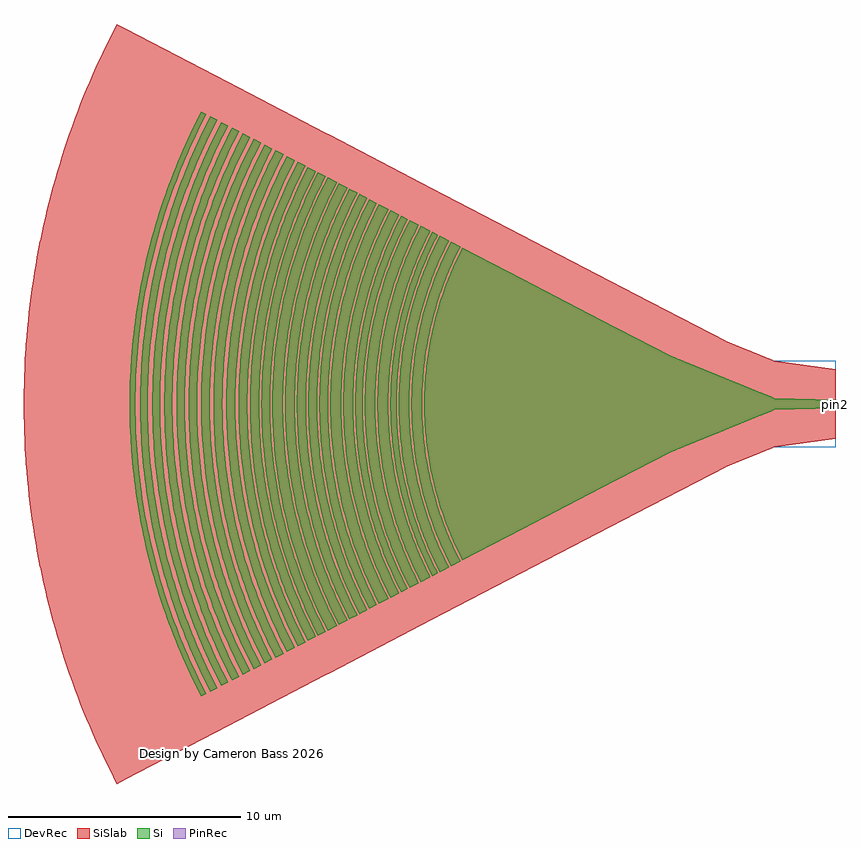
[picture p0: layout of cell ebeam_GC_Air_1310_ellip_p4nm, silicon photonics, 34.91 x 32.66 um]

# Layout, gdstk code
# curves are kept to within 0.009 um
import gdstk
lib = gdstk.Library(unit=1e-6, precision=1e-09)
def P(c, l, *ps):  # polygons
    for p in ps: c.add(gdstk.Polygon(p, *l))
Si = (1, 0)
PinRec = (1, 10)
SiSlab = (2, 0)
DevRec = (68, 0)

ebeam_gc_air_1310_ellip_ = lib.new_cell('ebeam_GC_Air_1310_ellip_p4nm')
P(ebeam_gc_air_1310_ellip_, Si, [(-16.05,-6.721),(-16.414,-5.971),(-16.788,-5.054),(-17.017,-4.385),(-17.282,-3.432),(-17.458,-2.602),(-17.585,-1.763),(-17.663,-0.918),(-17.691,-0.071),(-17.663,0.918),(-17.585,1.763),(-17.458,2.603),(-17.282,3.432),(-17.017,4.385),(-16.788,5.054),(-16.414,5.971),(-16.05,6.721),(-7.149,2.087),(-3.183,0.468),(-2.875,0.354),(-2.69,0.266),(-2.648,0.254),(0,0.175),(0,-0.175),(-2.676,-0.261),(-2.844,-0.341),(-3.184,-0.468),(-7.121,-2.074)],
  [(-16.542,-6.976),(-16.917,-6.201),(-17.254,-5.386),(-17.543,-4.554),(-17.783,-3.707),(-17.974,-2.847),(-18.114,-1.977),(-18.213,-0.954),(-18.243,-0.073),(-18.222,0.807),(-18.132,1.831),(-18.001,2.703),(-17.818,3.564),(-17.709,3.991),(-17.543,4.554),(-17.254,5.386),(-16.917,6.201),(-16.542,6.977),(-16.132,6.764),(-16.497,6.008),(-16.824,5.22),(-17.104,4.414),(-17.337,3.592),(-17.548,2.619),(-17.676,1.774),(-17.763,0.783),(-17.783,0.071),(-17.763,-0.783),(-17.676,-1.774),(-17.548,-2.618),(-17.371,-3.454),(-17.146,-4.278),(-16.874,-5.087),(-16.497,-6.008),(-16.132,-6.764)],
  [(-17.023,-7.227),(-17.411,-6.425),(-17.76,-5.581),(-18.059,-4.719),(-18.308,-3.841),(-18.505,-2.95),(-18.65,-2.049),(-18.743,-1.14),(-18.77,-0.684),(-18.784,-0.076),(-18.762,0.836),(-18.687,1.746),(-18.63,2.2),(-18.533,2.8),(-18.344,3.693),(-18.19,4.282),(-18.059,4.719),(-17.76,5.581),(-17.411,6.425),(-17.023,7.227),(-16.623,7.02),(-17.06,6.103),(-17.391,5.282),(-17.674,4.441),(-17.908,3.586),(-18.091,2.719),(-18.224,1.842),(-18.305,0.96),(-18.335,0.074),(-18.314,-0.812),(-18.224,-1.842),(-18.091,-2.719),(-17.908,-3.586),(-17.674,-4.441),(-17.391,-5.282),(-17.06,-6.103),(-16.623,-7.02)],
  [(-17.343,-7.394),(-17.74,-6.573),(-18.097,-5.71),(-18.403,-4.828),(-18.658,-3.93),(-18.86,-3.018),(-18.941,-2.558),(-19.028,-1.941),(-19.114,-1.011),(-19.145,-0.078),(-19.123,0.856),(-19.028,1.941),(-18.888,2.865),(-18.695,3.779),(-18.449,4.679),(-18.152,5.564),(-17.925,6.145),(-17.74,6.574),(-17.343,7.394),(-17.105,7.27),(-17.556,6.322),(-17.79,5.758),(-17.951,5.328),(-18.1,4.893),(-18.278,4.307),(-18.397,3.864),(-18.535,3.267),(-18.699,2.363),(-18.795,1.605),(-18.854,0.842),(-18.876,0.077),(-18.861,-0.689),(-18.81,-1.452),(-18.699,-2.363),(-18.566,-3.117),(-18.469,-3.566),(-18.319,-4.159),(-18.192,-4.601),(-18.002,-5.183),(-17.79,-5.757),(-17.556,-6.322),(-17.105,-7.27)],
  [(-17.839,-7.652),(-18.045,-7.241),(-18.314,-6.656),(-18.675,-5.759),(-18.983,-4.843),(-19.237,-3.911),(-19.437,-2.965),(-19.581,-2.009),(-19.67,-1.046),(-19.703,-0.08),(-19.679,0.886),(-19.6,1.849),(-19.465,2.807),(-19.344,3.44),(-19.237,3.911),(-18.983,4.843),(-18.675,5.759),(-18.44,6.36),(-18.249,6.804),(-17.839,7.652),(-17.425,7.437),(-17.887,6.468),(-18.182,5.744),(-18.491,4.856),(-18.747,3.953),(-18.979,2.881),(-19.119,1.952),(-19.183,1.33),(-19.215,0.861),(-19.237,0.078),(-19.215,-0.861),(-19.183,-1.33),(-19.119,-1.952),(-18.979,-2.881),(-18.784,-3.8),(-18.537,-4.707),(-18.237,-5.597),(-17.887,-6.468),(-17.425,-7.437)],
  [(-18.319,-7.902),(-18.743,-7.025),(-18.94,-6.567),(-19.182,-5.947),(-19.501,-5.001),(-19.763,-4.038),(-19.969,-3.062),(-20.119,-2.074),(-20.21,-1.081),(-20.244,-0.083),(-20.22,0.915),(-20.138,1.909),(-20.026,2.734),(-19.939,3.226),(-19.802,3.877),(-19.639,4.522),(-19.501,5.001),(-19.182,5.947),(-18.94,6.567),(-18.743,7.026),(-18.319,7.902),(-17.922,7.696),(-18.334,6.841),(-18.526,6.395),(-18.762,5.792),(-19.072,4.871),(-19.328,3.933),(-19.529,2.981),(-19.674,2.021),(-19.764,1.053),(-19.797,0.081),(-19.773,-0.891),(-19.693,-1.86),(-19.609,-2.502),(-19.529,-2.981),(-19.328,-3.932),(-19.072,-4.87),(-18.762,-5.792),(-18.587,-6.245),(-18.334,-6.841),(-17.922,-7.696)],
  [(-18.681,-8.09),(-19.115,-7.192),(-19.506,-6.247),(-19.841,-5.282),(-20.033,-4.629),(-20.16,-4.134),(-20.371,-3.135),(-20.524,-2.123),(-20.618,-1.106),(-20.652,-0.085),(-20.628,0.936),(-20.544,1.955),(-20.401,2.967),(-20.273,3.636),(-20.16,4.134),(-20.033,4.629),(-19.841,5.282),(-19.506,6.247),(-19.115,7.192),(-18.681,8.09),(-18.401,7.946),(-18.687,7.367),(-18.961,6.756),(-19.15,6.293),(-19.382,5.665),(-19.54,5.188),(-19.728,4.546),(-19.892,3.897),(-19.998,3.407),(-20.143,2.583),(-20.248,1.754),(-20.313,0.92),(-20.337,0.084),(-20.313,-0.92),(-20.248,-1.754),(-20.143,-2.583),(-19.998,-3.407),(-19.892,-3.897),(-19.728,-4.546),(-19.54,-5.188),(-19.382,-5.665),(-19.15,-6.292),(-18.961,-6.756),(-18.687,-7.367),(-18.401,-7.945)],
  [(-19.139,-8.329),(-19.586,-7.405),(-19.861,-6.758),(-20.05,-6.268),(-20.385,-5.271),(-20.662,-4.256),(-20.879,-3.227),(-21.037,-2.186),(-21.133,-1.139),(-21.169,-0.088),(-21.159,0.614),(-21.133,1.139),(-21.037,2.186),(-20.879,3.227),(-20.662,4.256),(-20.385,5.271),(-20.05,6.268),(-19.657,7.245),(-19.44,7.723),(-19.139,8.329),(-18.764,8.134),(-19.2,7.23),(-19.468,6.599),(-19.652,6.121),(-19.98,5.147),(-20.251,4.156),(-20.463,3.151),(-20.617,2.135),(-20.711,1.113),(-20.746,0.086),(-20.721,-0.942),(-20.637,-1.966),(-20.493,-2.982),(-20.399,-3.487),(-20.251,-4.156),(-19.98,-5.147),(-19.652,-6.121),(-19.269,-7.073),(-19.057,-7.541),(-18.764,-8.134)],
  [(-19.638,-8.589),(-20.097,-7.638),(-20.512,-6.635),(-20.867,-5.61),(-21.163,-4.566),(-21.397,-3.507),(-21.57,-2.436),(-21.68,-1.355),(-21.711,-0.814),(-21.729,-0.09),(-21.703,0.994),(-21.613,2.076),(-21.462,3.151),(-21.326,3.861),(-21.206,4.391),(-20.921,5.437),(-20.697,6.125),(-20.512,6.635),(-20.097,7.638),(-19.638,8.589),(-19.222,8.373),(-19.67,7.442),(-20.075,6.466),(-20.255,5.969),(-20.474,5.299),(-20.71,4.449),(-20.938,3.417),(-21.107,2.373),(-21.185,1.673),(-21.226,1.145),(-21.262,0.088),(-21.257,-0.441),(-21.226,-1.145),(-21.129,-2.198),(-20.971,-3.243),(-20.752,-4.278),(-20.474,-5.298),(-20.255,-5.969),(-20.075,-6.466),(-19.67,-7.442),(-19.222,-8.373)],
  [(-20.053,-8.805),(-20.525,-7.828),(-20.95,-6.8),(-21.315,-5.749),(-21.618,-4.679),(-21.858,-3.594),(-22.035,-2.496),(-22.148,-1.389),(-22.18,-0.834),(-22.198,-0.093),(-22.171,1.019),(-22.08,2.127),(-22.01,2.68),(-21.892,3.412),(-21.662,4.5),(-21.474,5.217),(-21.315,5.749),(-20.95,6.8),(-20.525,7.828),(-20.053,8.805),(-19.724,8.634),(-19.955,8.17),(-20.259,7.51),(-20.537,6.839),(-20.728,6.328),(-20.96,5.639),(-21.165,4.941),(-21.342,4.236),(-21.458,3.702),(-21.615,2.807),(-21.729,1.906),(-21.8,1),(-21.826,0.091),(-21.816,-0.636),(-21.747,-1.725),(-21.642,-2.627),(-21.458,-3.702),(-21.342,-4.235),(-21.165,-4.941),(-20.96,-5.638),(-20.728,-6.328),(-20.537,-6.838),(-20.259,-7.509),(-20.033,-8.006),(-19.724,-8.634)],
  [(-20.473,-9.024),(-20.958,-8.021),(-21.394,-6.967),(-21.767,-5.891),(-22.078,-4.795),(-22.209,-4.24),(-22.359,-3.496),(-22.529,-2.369),(-22.634,-1.234),(-22.673,-0.095),(-22.645,1.044),(-22.551,2.18),(-22.392,3.309),(-22.288,3.869),(-22.123,4.611),(-21.931,5.345),(-21.767,5.891),(-21.394,6.967),(-20.958,8.021),(-20.473,9.024),(-20.136,8.849),(-20.454,8.204),(-20.759,7.524),(-21.037,6.834),(-21.228,6.308),(-21.403,5.778),(-21.613,5.063),(-21.796,4.34),(-21.914,3.794),(-22.075,2.876),(-22.192,1.953),(-22.264,1.024),(-22.291,0.093),(-22.273,-0.838),(-22.21,-1.768),(-22.102,-2.692),(-21.914,-3.794),(-21.796,-4.34),(-21.613,-5.063),(-21.403,-5.778),(-21.228,-6.308),(-20.97,-7.007),(-20.759,-7.524),(-20.454,-8.204),(-20.136,-8.849)],
  [(-20.908,-9.25),(-21.406,-8.219),(-21.852,-7.14),(-22.235,-6.037),(-22.554,-4.914),(-22.688,-4.345),(-22.842,-3.582),(-23.017,-2.427),(-23.124,-1.264),(-23.163,-0.097),(-23.158,0.487),(-23.124,1.264),(-23.017,2.427),(-22.842,3.583),(-22.6,4.725),(-22.293,5.851),(-21.921,6.958),(-21.485,8.042),(-21.159,8.749),(-20.908,9.25),(-20.56,9.069),(-20.888,8.405),(-21.124,7.884),(-21.552,6.822),(-21.917,5.737),(-22.219,4.632),(-22.456,3.512),(-22.627,2.38),(-22.732,1.24),(-22.771,0.096),(-22.752,-0.859),(-22.688,-1.811),(-22.577,-2.758),(-22.384,-3.887),(-22.219,-4.632),(-22.076,-5.187),(-21.861,-5.919),(-21.681,-6.463),(-21.485,-7.001),(-21.2,-7.708),(-20.888,-8.405),(-20.56,-9.069)],
  [(-21.359,-9.485),(-21.703,-8.792),(-21.95,-8.246),(-22.397,-7.135),(-22.779,-6),(-23.094,-4.845),(-23.342,-3.674),(-23.521,-2.49),(-23.631,-1.296),(-23.671,-0.1),(-23.666,0.499),(-23.631,1.297),(-23.521,2.489),(-23.342,3.674),(-23.094,4.845),(-22.779,6),(-22.397,7.135),(-22.182,7.694),(-21.95,8.247),(-21.703,8.792),(-21.359,9.485),(-20.99,9.293),(-21.49,8.257),(-21.939,7.174),(-22.324,6.065),(-22.492,5.503),(-22.69,4.746),(-22.933,3.598),(-23.109,2.438),(-23.216,1.271),(-23.245,0.685),(-23.256,0.098),(-23.237,-0.88),(-23.171,-1.856),(-23.058,-2.826),(-22.86,-3.982),(-22.69,-4.746),(-22.492,-5.503),(-22.324,-6.065),(-22.074,-6.807),(-21.868,-7.356),(-21.569,-8.078),(-21.326,-8.612),(-20.99,-9.293)],
  [(-21.847,-9.738),(-22.11,-9.214),(-22.452,-8.469),(-22.69,-7.902),(-22.911,-7.327),(-23.116,-6.748),(-23.303,-6.162),(-23.474,-5.571),(-23.627,-4.976),(-23.763,-4.376),(-23.881,-3.773),(-23.982,-3.166),(-24.065,-2.556),(-24.178,-1.331),(-24.208,-0.717),(-24.219,-0.102),(-24.19,1.127),(-24.089,2.353),(-23.982,3.166),(-23.881,3.773),(-23.763,4.376),(-23.627,4.976),(-23.474,5.572),(-23.303,6.162),(-23.116,6.748),(-22.911,7.328),(-22.452,8.469),(-22.11,9.214),(-21.847,9.739),(-21.441,9.528),(-21.953,8.466),(-22.413,7.356),(-22.808,6.219),(-23.136,5.062),(-23.275,4.476),(-23.396,3.887),(-23.588,2.699),(-23.71,1.503),(-23.745,0.902),(-23.764,0.1),(-23.735,-1.103),(-23.677,-1.903),(-23.613,-2.501),(-23.433,-3.69),(-23.184,-4.867),(-22.867,-6.028),(-22.484,-7.168),(-22.034,-8.283),(-21.786,-8.831),(-21.441,-9.528)],
  [(-22.261,-9.954),(-22.795,-8.847),(-23.044,-8.27),(-23.276,-7.685),(-23.49,-7.095),(-23.75,-6.298),(-24.081,-5.086),(-24.34,-3.856),(-24.443,-3.236),(-24.528,-2.612),(-24.595,-1.987),(-24.644,-1.361),(-24.686,-0.105),(-24.68,0.524),(-24.656,1.152),(-24.553,2.404),(-24.474,3.029),(-24.377,3.65),(-24.262,4.268),(-24.081,5.086),(-23.75,6.298),(-23.558,6.897),(-23.276,7.685),(-23.044,8.271),(-22.795,8.848),(-22.261,9.954),(-21.929,9.782),(-22.281,9.068),(-22.536,8.506),(-22.851,7.746),(-23.068,7.167),(-23.268,6.583),(-23.507,5.795),(-23.667,5.198),(-23.853,4.395),(-23.972,3.789),(-24.073,3.179),(-24.202,2.159),(-24.282,1.132),(-24.312,0.103),(-24.306,-0.515),(-24.282,-1.132),(-24.202,-2.159),(-24.073,-3.179),(-23.972,-3.789),(-23.853,-4.395),(-23.667,-5.198),(-23.507,-5.794),(-23.268,-6.582),(-23.068,-7.167),(-22.851,-7.745),(-22.536,-8.505),(-22.281,-9.068),(-21.929,-9.782)],
  [(-22.695,-10.18),(-22.972,-9.629),(-23.243,-9.046),(-23.498,-8.456),(-23.735,-7.858),(-23.954,-7.254),(-24.156,-6.644),(-24.398,-5.822),(-24.558,-5.2),(-24.7,-4.573),(-24.823,-3.943),(-24.929,-3.309),(-25.016,-2.672),(-25.084,-2.032),(-25.134,-1.391),(-25.165,-0.75),(-25.177,-0.107),(-25.171,0.536),(-25.146,1.178),(-25.103,1.819),(-25.041,2.458),(-24.96,3.097),(-24.861,3.732),(-24.7,4.573),(-24.558,5.2),(-24.398,5.822),(-24.219,6.44),(-24.023,7.052),(-23.81,7.658),(-23.579,8.257),(-23.33,8.851),(-22.972,9.629),(-22.695,10.18),(-22.346,9.999),(-22.707,9.268),(-22.968,8.693),(-23.29,7.916),(-23.511,7.325),(-23.78,6.527),(-23.96,5.922),(-24.124,5.312),(-24.314,4.492),(-24.506,3.458),(-24.649,2.416),(-24.74,1.367),(-24.771,0.737),(-24.783,0.105),(-24.763,-0.947),(-24.726,-1.577),(-24.671,-2.206),(-24.539,-3.249),(-24.356,-4.286),(-24.223,-4.903),(-24.017,-5.719),(-23.78,-6.527),(-23.511,-7.325),(-23.29,-7.916),(-22.968,-8.693),(-22.707,-9.268),(-22.346,-9.999)],
  [(-23.127,-10.405),(-23.413,-9.836),(-23.69,-9.241),(-23.95,-8.638),(-24.193,-8.027),(-24.417,-7.41),(-24.624,-6.787),(-24.812,-6.158),(-24.982,-5.524),(-25.133,-4.886),(-25.266,-4.243),(-25.38,-3.596),(-25.475,-2.947),(-25.551,-2.294),(-25.623,-1.421),(-25.655,-0.766),(-25.667,-0.109),(-25.661,0.547),(-25.636,1.203),(-25.591,1.858),(-25.528,2.511),(-25.445,3.164),(-25.306,4.028),(-25.179,4.672),(-25.034,5.312),(-24.87,5.948),(-24.688,6.578),(-24.488,7.204),(-24.27,7.823),(-24.033,8.436),(-23.779,9.041),(-23.508,9.639),(-23.127,10.405),(-22.794,10.233),(-23.165,9.48),(-23.518,8.695),(-23.762,8.098),(-23.988,7.493),(-24.263,6.677),(-24.448,6.058),(-24.667,5.225),(-24.81,4.595),(-25.007,3.537),(-25.1,2.898),(-25.175,2.257),(-25.258,1.184),(-25.29,0.108),(-25.269,-0.969),(-25.175,-2.257),(-25.007,-3.537),(-24.81,-4.595),(-24.667,-5.225),(-24.448,-6.058),(-24.263,-6.677),(-23.988,-7.493),(-23.762,-8.098),(-23.432,-8.892),(-23.165,-9.48),(-22.794,-10.232)],
  [(-23.596,-10.65),(-23.892,-10.061),(-24.176,-9.453),(-24.442,-8.836),(-24.69,-8.211),(-24.92,-7.58),(-25.131,-6.943),(-25.324,-6.299),(-25.498,-5.651),(-25.653,-4.997),(-25.788,-4.34),(-25.94,-3.457),(-26.031,-2.791),(-26.102,-2.123),(-26.154,-1.454),(-26.187,-0.783),(-26.2,-0.112),(-26.193,0.56),(-26.167,1.231),(-26.122,1.901),(-26.057,2.569),(-25.972,3.236),(-25.868,3.9),(-25.7,4.779),(-25.551,5.434),(-25.384,6.084),(-25.197,6.729),(-24.992,7.369),(-24.769,8.002),(-24.527,8.628),(-24.267,9.248),(-23.989,9.86),(-23.596,10.65),(-23.252,10.471),(-23.635,9.696),(-23.908,9.095),(-24.164,8.486),(-24.477,7.664),(-24.691,7.039),(-24.948,6.196),(-25.172,5.344),(-25.318,4.7),(-25.52,3.617),(-25.669,2.527),(-25.732,1.87),(-25.777,1.211),(-25.809,0.11),(-25.788,-0.991),(-25.75,-1.65),(-25.692,-2.308),(-25.554,-3.4),(-25.445,-4.051),(-25.318,-4.7),(-25.172,-5.344),(-24.948,-6.196),(-24.691,-7.038),(-24.477,-7.663),(-24.164,-8.486),(-23.908,-9.095),(-23.635,-9.696),(-23.252,-10.471)],
  [(-24.079,-10.901),(-24.385,-10.293),(-24.675,-9.67),(-24.948,-9.039),(-25.202,-8.4),(-25.437,-7.755),(-25.721,-6.884),(-25.912,-6.224),(-26.083,-5.559),(-26.235,-4.889),(-26.368,-4.215),(-26.481,-3.537),(-26.574,-2.855),(-26.647,-2.172),(-26.7,-1.487),(-26.734,-0.801),(-26.747,-0.114),(-26.74,0.573),(-26.714,1.259),(-26.667,1.944),(-26.574,2.856),(-26.481,3.537),(-26.368,4.215),(-26.235,4.889),(-26.083,5.559),(-25.912,6.224),(-25.721,6.884),(-25.437,7.755),(-25.202,8.4),(-24.948,9.04),(-24.675,9.67),(-24.385,10.293),(-24.079,10.901),(-23.74,10.725),(-24.135,9.926),(-24.415,9.31),(-24.761,8.478),(-24.998,7.845),(-25.286,6.99),(-25.48,6.342),(-25.71,5.47),(-25.859,4.811),(-26.066,3.703),(-26.219,2.587),(-26.317,1.464),(-26.35,0.789),(-26.363,0.113),(-26.341,-1.014),(-26.301,-1.689),(-26.243,-2.363),(-26.101,-3.48),(-25.905,-4.59),(-25.762,-5.251),(-25.541,-6.125),(-25.286,-6.99),(-24.998,-7.845),(-24.761,-8.478),(-24.415,-9.31),(-24.038,-10.129),(-23.74,-10.725)],
  [(-24.549,-11.146),(-24.864,-10.521),(-25.161,-9.884),(-25.44,-9.239),(-25.699,-8.586),(-25.94,-7.926),(-26.161,-7.26),(-26.425,-6.362),(-26.601,-5.682),(-26.756,-4.997),(-26.892,-4.308),(-27.007,-3.615),(-27.102,-2.919),(-27.177,-2.22),(-27.232,-1.52),(-27.266,-0.819),(-27.279,-0.117),(-27.266,0.819),(-27.232,1.521),(-27.177,2.221),(-27.102,2.919),(-27.007,3.615),(-26.892,4.308),(-26.756,4.997),(-26.601,5.682),(-26.425,6.362),(-26.161,7.26),(-25.94,7.926),(-25.699,8.586),(-25.44,9.24),(-25.161,9.884),(-24.864,10.521),(-24.549,11.146),(-24.221,10.976),(-24.629,10.153),(-24.916,9.523),(-25.269,8.672),(-25.512,8.024),(-25.807,7.15),(-26.005,6.488),(-26.185,5.819),(-26.393,4.921),(-26.605,3.788),(-26.761,2.646),(-26.862,1.498),(-26.895,0.807),(-26.908,0.115),(-26.902,-0.576),(-26.875,-1.268),(-26.785,-2.417),(-26.705,-3.103),(-26.605,-3.788),(-26.393,-4.921),(-26.185,-5.819),(-26.005,-6.487),(-25.807,-7.15),(-25.512,-8.024),(-25.269,-8.672),(-24.916,-9.523),(-24.629,-10.153),(-24.221,-10.976)],
  [(-25.022,-11.392),(-25.345,-10.751),(-25.649,-10.101),(-25.933,-9.442),(-26.199,-8.774),(-26.444,-8.1),(-26.67,-7.419),(-26.877,-6.731),(-27.063,-6.038),(-27.228,-5.34),(-27.374,-4.637),(-27.498,-3.931),(-27.603,-3.221),(-27.686,-2.507),(-27.749,-1.792),(-27.8,-0.837),(-27.814,-0.12),(-27.807,0.598),(-27.779,1.315),(-27.73,2.031),(-27.661,2.745),(-27.57,3.458),(-27.418,4.402),(-27.279,5.107),(-27.12,5.806),(-26.941,6.501),(-26.741,7.191),(-26.522,7.874),(-26.199,8.774),(-25.933,9.442),(-25.649,10.101),(-25.345,10.751),(-25.022,11.392),(-24.701,11.226),(-25.12,10.381),(-25.413,9.737),(-25.774,8.867),(-26.023,8.205),(-26.252,7.536),(-26.527,6.634),(-26.711,5.95),(-26.924,5.032),(-27.14,3.873),(-27.3,2.706),(-27.369,2.002),(-27.417,1.296),(-27.451,0.118),(-27.444,-0.589),(-27.417,-1.296),(-27.325,-2.471),(-27.177,-3.64),(-27.061,-4.338),(-26.924,-5.032),(-26.711,-5.95),(-26.527,-6.633),(-26.252,-7.536),(-26.023,-8.205),(-25.687,-9.086),(-25.413,-9.737),(-25.12,-10.381),(-24.701,-11.225)],
  [(-25.484,-11.632),(-25.814,-10.977),(-26.124,-10.313),(-26.414,-9.64),(-26.685,-8.958),(-26.936,-8.27),(-27.167,-7.575),(-27.378,-6.873),(-27.568,-6.165),(-27.789,-5.214),(-27.93,-4.495),(-28.051,-3.772),(-28.15,-3.045),(-28.228,-2.317),(-28.285,-1.586),(-28.32,-0.855),(-28.335,-0.122),(-28.32,0.855),(-28.285,1.586),(-28.228,2.317),(-28.15,3.045),(-28.051,3.772),(-27.93,4.495),(-27.789,5.214),(-27.626,5.928),(-27.443,6.638),(-27.24,7.341),(-27.016,8.039),(-26.771,8.73),(-26.507,9.413),(-26.223,10.09),(-25.814,10.977),(-25.484,11.632),(-25.175,11.472),(-25.604,10.608),(-25.903,9.95),(-26.273,9.061),(-26.527,8.384),(-26.835,7.471),(-27.042,6.779),(-27.23,6.08),(-27.397,5.377),(-27.543,4.669),(-27.669,3.958),(-27.832,2.765),(-27.902,2.046),(-27.951,1.325),(-27.986,0.121),(-27.963,-1.084),(-27.921,-1.805),(-27.858,-2.525),(-27.774,-3.242),(-27.669,-3.957),(-27.448,-5.141),(-27.23,-6.08),(-27.042,-6.778),(-26.835,-7.471),(-26.527,-8.384),(-26.273,-9.061),(-25.903,-9.95),(-25.604,-10.608),(-25.175,-11.472)],
  [(-25.949,-11.874),(-26.286,-11.205),(-26.603,-10.527),(-26.899,-9.841),(-27.176,-9.145),(-27.432,-8.442),(-27.668,-7.732),(-27.883,-7.016),(-28.077,-6.293),(-28.302,-5.322),(-28.447,-4.588),(-28.569,-3.85),(-28.671,-3.108),(-28.751,-2.365),(-28.809,-1.619),(-28.845,-0.872),(-28.859,-0.125),(-28.845,0.872),(-28.809,1.619),(-28.751,2.365),(-28.671,3.109),(-28.569,3.851),(-28.447,4.588),(-28.302,5.322),(-28.136,6.051),(-27.95,6.776),(-27.742,7.494),(-27.513,8.206),(-27.264,8.911),(-26.994,9.609),(-26.603,10.527),(-26.286,11.205),(-25.949,11.875),(-25.645,11.717),(-25.977,11.056),(-26.389,10.162),(-26.766,9.253),(-27.026,8.562),(-27.265,7.864),(-27.553,6.923),(-27.744,6.21),(-27.967,5.251),(-28.192,4.042),(-28.359,2.824),(-28.431,2.089),(-28.481,1.353),(-28.517,0.123),(-28.509,-0.615),(-28.481,-1.353),(-28.385,-2.579),(-28.299,-3.311),(-28.192,-4.041),(-27.967,-5.251),(-27.803,-5.971),(-27.553,-6.922),(-27.265,-7.864),(-27.026,-8.562),(-26.675,-9.482),(-26.389,-10.161),(-25.977,-11.055),(-25.645,-11.717)],
  [(-26.408,-12.113),(-26.752,-11.43),(-27.075,-10.739),(-27.377,-10.038),(-27.659,-9.328),(-27.921,-8.611),(-28.161,-7.887),(-28.38,-7.156),(-28.578,-6.42),(-28.808,-5.429),(-28.956,-4.68),(-29.081,-3.928),(-29.184,-3.172),(-29.266,-2.412),(-29.325,-1.652),(-29.362,-0.89),(-29.377,-0.127),(-29.369,0.636),(-29.34,1.398),(-29.288,2.159),(-29.214,2.919),(-29.118,3.676),(-28.956,4.68),(-28.808,5.429),(-28.639,6.173),(-28.449,6.912),(-28.237,7.645),(-28.003,8.371),(-27.749,9.09),(-27.474,9.803),(-27.075,10.739),(-26.752,11.43),(-26.408,12.113),(-26.114,11.961),(-26.453,11.286),(-26.772,10.603),(-27.071,9.911),(-27.438,8.977),(-27.689,8.266),(-27.992,7.308),(-28.257,6.339),(-28.431,5.606),(-28.584,4.868),(-28.715,4.126),(-28.885,2.883),(-28.995,1.632),(-29.031,0.879),(-29.046,0.126),(-29.038,-0.628),(-29.009,-1.381),(-28.912,-2.633),(-28.824,-3.38),(-28.715,-4.126),(-28.584,-4.868),(-28.431,-5.606),(-28.257,-6.339),(-27.992,-7.308),(-27.689,-8.266),(-27.438,-8.976),(-27.166,-9.679),(-26.772,-10.603),(-26.453,-11.285),(-26.114,-11.961)],
  [(-26.878,-12.358),(-27.334,-11.441),(-27.656,-10.732),(-27.958,-10.013),(-28.239,-9.285),(-28.498,-8.551),(-28.736,-7.809),(-28.952,-7.06),(-29.147,-6.305),(-29.319,-5.545),(-29.469,-4.781),(-29.597,-4.012),(-29.703,-3.239),(-29.785,-2.464),(-29.846,-1.687),(-29.884,-0.909),(-29.899,-0.13),(-29.884,0.909),(-29.846,1.687),(-29.785,2.464),(-29.703,3.239),(-29.597,4.012),(-29.469,4.781),(-29.319,5.546),(-29.147,6.305),(-28.952,7.06),(-28.736,7.809),(-28.498,8.551),(-28.239,9.286),(-27.958,10.012),(-27.656,10.732),(-27.334,11.441),(-26.878,12.359),(-26.581,12.205),(-27.038,11.284),(-27.357,10.584),(-27.75,9.638),(-28.02,8.918),(-28.269,8.191),(-28.497,7.456),(-28.704,6.716),(-28.945,5.72),(-29.193,4.462),(-29.312,3.703),(-29.409,2.941),(-29.483,2.176),(-29.535,1.409),(-29.573,0.128),(-29.548,-1.153),(-29.503,-1.92),(-29.436,-2.686),(-29.275,-3.956),(-29.148,-4.715),(-29,-5.469),(-28.768,-6.467),(-28.568,-7.21),(-28.348,-7.947),(-28.02,-8.918),(-27.75,-9.638),(-27.357,-10.584),(-27.038,-11.284),(-26.581,-12.204)],
  [(-27.276,-12.566),(-27.633,-11.855),(-27.968,-11.138),(-28.281,-10.412),(-28.573,-9.675),(-28.83,-8.973),(-29.093,-8.181),(-29.32,-7.423),(-29.525,-6.659),(-29.707,-5.889),(-29.867,-5.114),(-30.005,-4.334),(-30.12,-3.552),(-30.237,-2.502),(-30.293,-1.794),(-30.337,-0.923),(-30.352,-0.132),(-30.344,0.659),(-30.314,1.45),(-30.26,2.24),(-30.153,3.289),(-30.046,4.074),(-29.916,4.855),(-29.763,5.631),(-29.588,6.403),(-29.391,7.169),(-29.171,7.929),(-28.93,8.683),(-28.666,9.429),(-28.281,10.412),(-27.968,11.139),(-27.633,11.856),(-27.276,12.566),(-27.06,12.454),(-27.518,11.528),(-27.843,10.813),(-28.244,9.847),(-28.52,9.111),(-28.854,8.119),(-29.08,7.366),(-29.283,6.608),(-29.464,5.844),(-29.623,5.074),(-29.759,4.301),(-29.936,3.005),(-30.051,1.701),(-30.089,0.916),(-30.104,0.131),(-30.079,-1.178),(-30.033,-1.962),(-29.964,-2.744),(-29.873,-3.523),(-29.759,-4.301),(-29.623,-5.074),(-29.464,-5.843),(-29.283,-6.608),(-29.08,-7.366),(-28.854,-8.119),(-28.52,-9.111),(-28.244,-9.847),(-27.843,-10.813),(-27.518,-11.528),(-27.06,-12.454)])
P(ebeam_gc_air_1310_ellip_, SiSlab, [(-30.904,-16.329),(-31.366,-15.41),(-31.801,-14.477),(-32.208,-13.533),(-32.588,-12.577),(-32.94,-11.61),(-33.264,-10.634),(-33.559,-9.648),(-33.825,-8.655),(-34.062,-7.654),(-34.27,-6.647),(-34.449,-5.634),(-34.598,-4.616),(-34.717,-3.594),(-34.807,-2.569),(-34.867,-1.543),(-34.9,-0.171),(-34.89,0.857),(-34.85,1.885),(-34.781,2.912),(-34.681,3.935),(-34.552,4.956),(-34.393,5.972),(-34.135,7.319),(-33.907,8.322),(-33.651,9.318),(-33.365,10.307),(-33.051,11.286),(-32.709,12.256),(-32.338,13.216),(-31.94,14.164),(-31.366,15.41),(-30.904,16.329),(-4.744,2.708),(-2.65,1.855),(0,1.5),(0,-1.5),(-2.65,-1.855),(-4.728,-2.7)])
P(ebeam_gc_air_1310_ellip_, DevRec, [(-30.904,-16.329),(-31.366,-15.41),(-31.801,-14.477),(-32.208,-13.533),(-32.588,-12.577),(-32.94,-11.61),(-33.264,-10.634),(-33.559,-9.648),(-33.825,-8.655),(-34.062,-7.654),(-34.27,-6.647),(-34.449,-5.634),(-34.598,-4.616),(-34.717,-3.594),(-34.807,-2.569),(-34.867,-1.543),(-34.9,-0.171),(-34.89,0.857),(-34.85,1.885),(-34.781,2.912),(-34.681,3.935),(-34.552,4.956),(-34.393,5.972),(-34.135,7.319),(-33.907,8.322),(-33.651,9.318),(-33.365,10.307),(-33.051,11.286),(-32.709,12.256),(-32.338,13.216),(-31.94,14.164),(-31.366,15.41),(-30.904,16.329),(-4.744,2.708),(-2.65,1.855),(0,1.855),(0,-1.855),(-2.65,-1.855),(-4.728,-2.7)])
ebeam_gc_air_1310_ellip_.add(gdstk.FlexPath([(-0.01,0),(0.01,0)], 0.35, ends="flush", simple_path=True, layer=1, datatype=10))  # PinRec
ebeam_gc_air_1310_ellip_.add(gdstk.Label('pin2', (0,0), layer=1, texttype=10))
ebeam_gc_air_1310_ellip_.add(gdstk.Label('Design by Cameron Bass 2026', (-25.94,-15.02), layer=10, texttype=0))

lib.write_gds('ebeam_GC_Air_1310_ellip_p4nm.gds')
